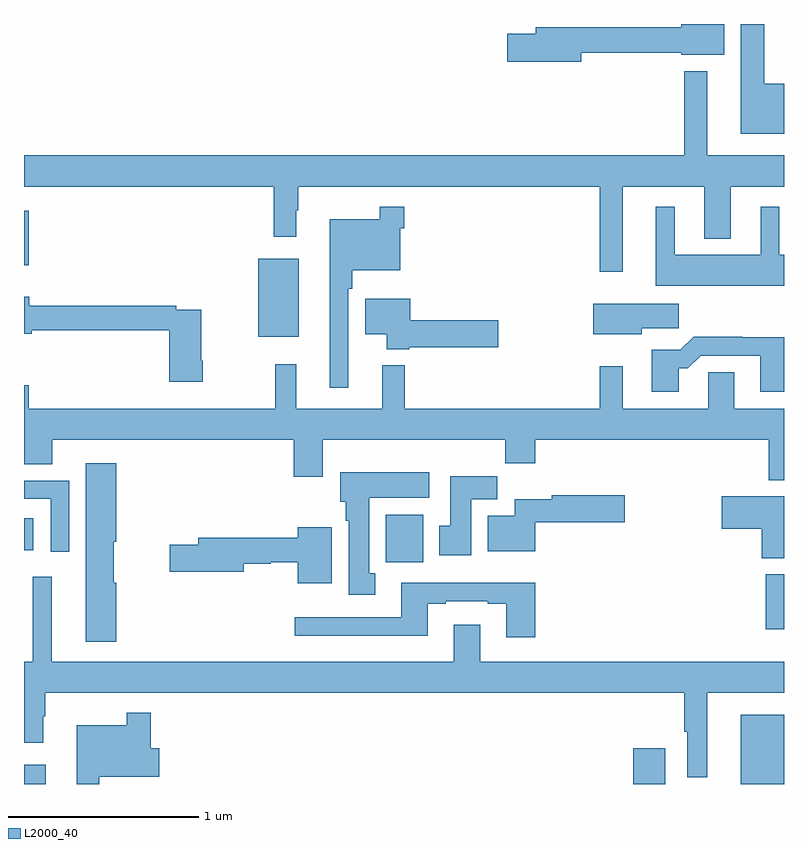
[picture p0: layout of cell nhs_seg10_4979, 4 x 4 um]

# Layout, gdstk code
import gdstk
lib = gdstk.Library(unit=1e-6, precision=1e-09)
def R(c, l, rs):  # rectangles x0, y0, x1, y1
    for r in rs: c.add(gdstk.rectangle(r[:2], r[2:], *l))
def P(c, l, *ps):  # polygons
    for p in ps: c.add(gdstk.Polygon(p, *l))
L2000_40 = (2000, 40)

nhs_seg10_4979 = lib.new_cell('nhs_seg10_4979')
R(nhs_seg10_4979, L2000_40, [(399,1302.5,399.115,1302.601), (402.206,1302.5,402.376,1302.688), (402.773,1302.5,403,1302.865), (402.905,1303.314,403,1303.603), (400.905,1303.668,401.101,1303.918), (399,1303.73,399.049,1303.9), (400.232,1304.855,400.447,1305.265), (399,1305.23,399.026,1305.517)])
P(nhs_seg10_4979, L2000_40, [(401.932,1306.348),(402.458,1306.348),(402.458,1306.337),(402.685,1306.337),(402.685,1306.5),(402.458,1306.5),(402.458,1306.484),(401.693,1306.484),(401.693,1306.448),(401.544,1306.448),(401.544,1306.301),(401.932,1306.301)],
  [(403,1306.186),(402.895,1306.186),(402.895,1306.5),(402.773,1306.5),(402.773,1305.923),(403,1305.923)],
  [(402.151,1305.644),(402.581,1305.644),(402.581,1305.371),(402.721,1305.371),(402.721,1305.644),(403,1305.644),(403,1305.808),(402.595,1305.808),(402.595,1306.252),(402.474,1306.252),(402.474,1305.808),(399,1305.808),(399,1305.644),(400.315,1305.644),(400.315,1305.381),(400.432,1305.381),(400.432,1305.521),(400.444,1305.521),(400.444,1305.644),(402.03,1305.644),(402.03,1305.195),(402.151,1305.195)],
  [(403,1305.286),(402.976,1305.286),(402.976,1305.538),(402.878,1305.538),(402.878,1305.286),(402.424,1305.286),(402.424,1305.538),(402.326,1305.538),(402.326,1305.122),(403,1305.122)],
  [(400.707,1305.107),(400.727,1305.107),(400.727,1305.203),(400.98,1305.203),(400.98,1305.425),(401,1305.425),(401,1305.538),(400.872,1305.538),(400.872,1305.472),(400.61,1305.472),(400.61,1304.586),(400.707,1304.586)],
  [(399.942,1304.728),(399.934,1304.728),(399.934,1304.997),(399.8,1304.997),(399.8,1305.017),(399.028,1305.017),(399.028,1305.064),(399,1305.064),(399,1304.87),(399.041,1304.87),(399.041,1304.889),(399.764,1304.889),(399.764,1304.616),(399.942,1304.616)],
  [(401.028,1304.8),(401.497,1304.8),(401.497,1304.942),(401.032,1304.942),(401.032,1305.055),(400.796,1305.055),(400.796,1304.867),(400.91,1304.867),(400.91,1304.789),(401.028,1304.789)],
  [(402.25,1304.899),(402.445,1304.899),(402.445,1305.028),(401.996,1305.028),(401.996,1304.867),(402.25,1304.867)],
  [(402.445,1304.687),(402.494,1304.687),(402.561,1304.754),(402.875,1304.754),(402.875,1304.565),(403,1304.565),(403,1304.852),(402.779,1304.852),(402.779,1304.855),(402.524,1304.855),(402.454,1304.785),(402.305,1304.785),(402.305,1304.565),(402.445,1304.565)],
  [(403,1304.476),(402.739,1304.476),(402.739,1304.666),(402.6,1304.666),(402.6,1304.476),(402.151,1304.476),(402.151,1304.698),(402.03,1304.698),(402.03,1304.476),(401.003,1304.476),(401.003,1304.704),(400.886,1304.704),(400.886,1304.476),(400.433,1304.476),(400.433,1304.71),(400.323,1304.71),(400.323,1304.476),(399.026,1304.476),(399.026,1304.6),(399,1304.6),(399,1304.182),(399.148,1304.182),(399.148,1304.312),(400.421,1304.312),(400.421,1304.118),(400.573,1304.118),(400.573,1304.312),(401.533,1304.312),(401.533,1304.188),(401.69,1304.188),(401.69,1304.312),(402.919,1304.312),(402.919,1304.099),(403,1304.099)],
  [(399.485,1303.56),(399.472,1303.56),(399.472,1303.775),(399.485,1303.775),(399.485,1304.188),(399.326,1304.188),(399.326,1303.248),(399.485,1303.248)],
  [(400.849,1303.609),(400.816,1303.609),(400.816,1304.006),(401.134,1304.006),(401.134,1304.14),(400.664,1304.14),(400.664,1303.986),(400.694,1303.986),(400.694,1303.886),(400.709,1303.886),(400.709,1303.497),(400.849,1303.497)],
  [(401.353,1304),(401.492,1304),(401.492,1304.119),(401.243,1304.119),(401.243,1303.86),(401.186,1303.86),(401.186,1303.704),(401.353,1303.704)],
  [(399.237,1304.097),(399,1304.097),(399,1304.001),(399.141,1304.001),(399.141,1303.722),(399.237,1303.722)],
  [(401.692,1303.877),(402.163,1303.877),(402.163,1304.019),(401.778,1304.019),(401.778,1303.999),(401.582,1303.999),(401.582,1303.912),(401.441,1303.912),(401.441,1303.724),(401.692,1303.724)],
  [(403,1304.014),(402.672,1304.014),(402.672,1303.844),(402.884,1303.844),(402.884,1303.688),(403,1303.688)],
  [(400.621,1303.852),(400.442,1303.852),(400.442,1303.796),(399.917,1303.796),(399.917,1303.76),(399.768,1303.76),(399.768,1303.618),(400.156,1303.618),(400.156,1303.66),(400.299,1303.66),(400.299,1303.668),(400.442,1303.668),(400.442,1303.556),(400.621,1303.556)],
  [(402.595,1302.98),(403,1302.98),(403,1303.144),(401.401,1303.144),(401.401,1303.339),(401.261,1303.339),(401.261,1303.144),(399.146,1303.144),(399.146,1303.591),(399.047,1303.591),(399.047,1303.144),(399,1303.144),(399,1302.717),(399.1,1302.717),(399.1,1302.857),(399.112,1302.857),(399.112,1302.98),(402.474,1302.98),(402.474,1302.775),(402.491,1302.775),(402.491,1302.536),(402.595,1302.536)],
  [(401.69,1303.558),(400.985,1303.558),(400.985,1303.377),(400.425,1303.377),(400.425,1303.28),(401.125,1303.28),(401.125,1303.449),(401.221,1303.449),(401.221,1303.461),(401.441,1303.461),(401.441,1303.449),(401.537,1303.449),(401.537,1303.272),(401.69,1303.272)],
  [(399.395,1302.539),(399.712,1302.539),(399.712,1302.687),(399.668,1302.687),(399.668,1302.874),(399.54,1302.874),(399.54,1302.808),(399.278,1302.808),(399.278,1302.5),(399.395,1302.5)])

lib.write_gds('nhs_seg10_4979.gds')
